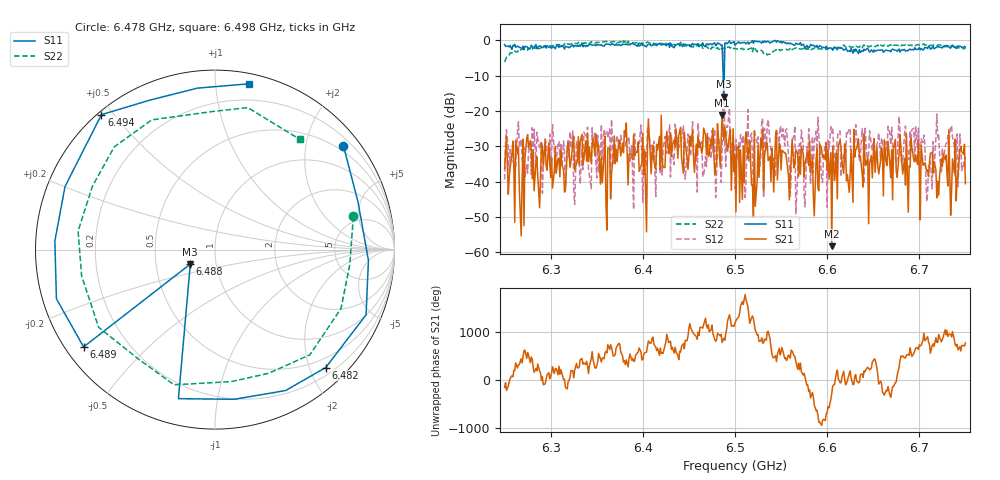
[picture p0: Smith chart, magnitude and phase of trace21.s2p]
# Hz S RI R 50
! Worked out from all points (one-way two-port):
!   401 points, 6.25 GHz to 6.75 GHz, reference 50 ohm
!   highest |S21| = -21.13 dB at 6.486 GHz (marker M1); lowest = -58.2 dB at 6.605 GHz (marker M2)
!   lowest |S11| = -15.9 dB at 6.488 GHz (marker M3), VSWR 1.38, Z = 37.5 - j6.21 ohm
!   |S11| at or under -10 dB: 6.487185 GHz to 6.488393 GHz (1.207 MHz wide, 0.0186 % of centre)
!   |S22| runs from -6.1 to -0.2 dB; largest |S21 - S12| = 0.7
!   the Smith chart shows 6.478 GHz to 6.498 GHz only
!   S11 on the Smith chart (normalised r, x): 6.478 GHz: 0.37, +2.79; 6.482 GHz: 0.32, -2.27; 6.488 GHz: 0.75, -0.12; 6.489 GHz: 0.05, -0.33; 6.494 GHz: 0.01, +0.47; 6.498 GHz: 0.07, +1.22
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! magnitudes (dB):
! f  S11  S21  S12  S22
! 6.25 GHz  -1.2  -36.3  -39.4  -6.1
! 6.269 GHz  -2.2  -39.4  -33.6  -2.5
! 6.276 GHz  -2.4  -30.5  -31.3  -2.1
! 6.285 GHz  -2.3  -32.9  -26.0  -1.7
! 6.334 GHz  -0.8  -26.6  -30.9  -0.9
! 6.362 GHz  -1.1  -30.5  -27.7  -0.6
! 6.38 GHz  -1.2  -25.5  -29.0  -0.5
! 6.401 GHz  -1.4  -37.9  -34.1  -0.7
! 6.418 GHz  -0.9  -27.2  -28.7  -1.1
! 6.478 GHz  -0.7  -38.0  -25.2  -2.0
! 6.482 GHz  -0.9  -27.4  -27.4  -2.5
! 6.486 GHz  -1.4  -21.1  -31.7  -2.6
! 6.488 GHz  -15.9  -28.4  -2.7  -2.2
! 6.489 GHz  -0.8  -24.6  -29.8  -2.4
! 6.494 GHz  -0.2  -26.8  -19.2  -1.9
! 6.498 GHz  -0.5  -25.0  -31.1  -2.2
! 6.5 GHz  -1.4  -32.7  -41.9  -2.3
! 6.584 GHz  -1.5  -33.2  -27.2  -2.4
! 6.605 GHz  -2.2  -58.2  -26.2  -2.2
! 6.668 GHz  -3.0  -34.9  -26.3  -1.3
! 6.71 GHz  -1.6  -38.5  -35.5  -1.4
! 6.75 GHz  -1.9  -40.6  -33.0  -2.1
